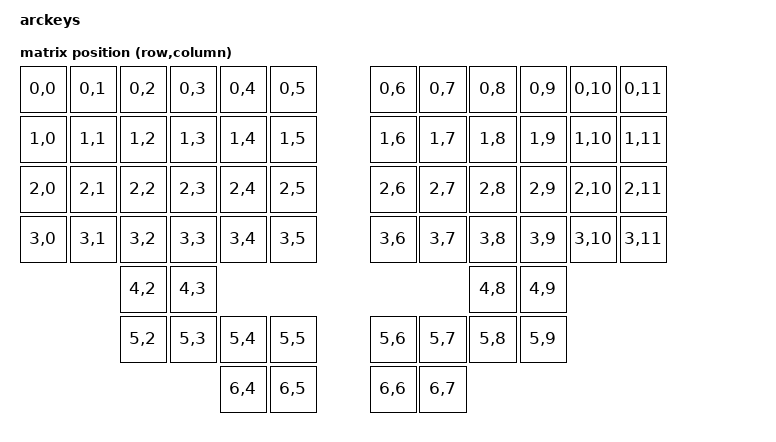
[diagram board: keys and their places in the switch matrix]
/*
*
* Copyright (c) 2023 The ZMK Contributors
* SPDX-License-Identifier: MIT
*
*/

/dts-v1/;
#include <nordic/nrf52840_qiaa.dtsi>
#include <dt-bindings/zmk/matrix_transform.h>

#include "arckeys-pinctrl.dtsi"


/ {
    model = "arckeys";
    compatible = "arckeys";

    chosen {
        zmk,kscan = &kscan0;
        zmk,matrix-transform = &default_transform;
        zephyr,code-partition = &code_partition;
        zephyr,sram = &sram0;
        zephyr,flash = &flash0;
        zmk,battery = &vbatt;
    };

    default_transform: keymap_transform_0 {
        compatible = "zmk,matrix-transform";
        columns = <12>;
        rows = <7>;
        map = <
            RC(0,0) RC(0,1) RC(0,2) RC(0,3) RC(0,4) RC(0,5)          RC(0,6) RC(0,7) RC(0,8) RC(0,9) RC(0,10) RC(0,11)
            RC(1,0) RC(1,1) RC(1,2) RC(1,3) RC(1,4) RC(1,5)          RC(1,6) RC(1,7) RC(1,8) RC(1,9) RC(1,10) RC(1,11)
            RC(2,0) RC(2,1) RC(2,2) RC(2,3) RC(2,4) RC(2,5)          RC(2,6) RC(2,7) RC(2,8) RC(2,9) RC(2,10) RC(2,11)
            RC(3,0) RC(3,1) RC(3,2) RC(3,3) RC(3,4) RC(3,5)          RC(3,6) RC(3,7) RC(3,8) RC(3,9) RC(3,10) RC(3,11)
                            RC(4,2) RC(4,3)                                          RC(4,8) RC(4,9)
                            RC(5,2) RC(5,3) RC(5,4) RC(5,5)          RC(5,6) RC(5,7) RC(5,8) RC(5,9)
                                            RC(6,4) RC(6,5)          RC(6,6) RC(6,7) 
        >;
    };

    
    vbatt: vbatt {
        compatible = "zmk,battery-nrf-vddh";
    };

};

&adc {
    status = "okay";
};

&gpiote {
    status = "okay";
};

&gpio0 {
    status = "okay";
};

&gpio1 {
    status = "okay";
};

&usbd {
    status = "okay";
};

&flash0 {
    partitions {
        compatible = "fixed-partitions";
        #address-cells = <1>;
        #size-cells = <1>;

        
        sd_partition: partition@0 {
            reg = <0x00000000 0x00026000>;
        };
        code_partition: partition@26000 {
            reg = <0x00026000 0x000c6000>;
        };

        /*
         * The flash starting at 0x000ec000 and ending at
         * 0x000f3fff is reserved for use by the application.
         */

        /*
         * Storage partition will be used by FCB/LittleFS/NVS
         * if enabled.
         */
        storage_partition: partition@ec000 {
            reg = <0x000ec000 0x00008000>;
        };

        boot_partition: partition@f4000 {
            reg = <0x000f4000 0x0000c000>;
        };
    };
};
